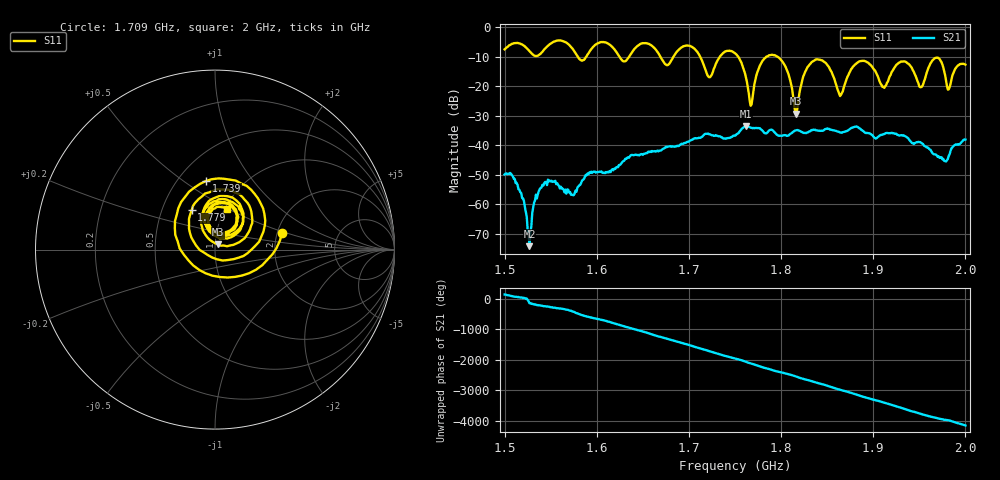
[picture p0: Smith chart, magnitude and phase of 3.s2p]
! NanoVNA-App by SYSJOINT et al v1.1.209 (+OD18)
! Date: 2026-01-21 14:24:11
! Start: 1,5GHz Stop: 2GHz Points: 501
! S-Parameter data: F S11 S21 S12 S22
# Hz S RI R 50
!  Frequency  S11_Real  S11_Imag  S21_Real  S21_Imag  S12_Real  S12_Imag  S22_Real  S22_Imag
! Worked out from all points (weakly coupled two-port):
!   501 points, 1.5 GHz to 2 GHz, reference 50 ohm
!   highest |S21| = -33.53 dB at 1.762 GHz (marker M1); lowest = -74.2 dB at 1.527 GHz (marker M2)
!   lowest |S11| = -29.3 dB at 1.816 GHz (marker M3), VSWR 1.07, Z = 51.8 + j3.02 ohm
!   |S11| at or under -10 dB: 1.712 GHz to 1.734 GHz (21.28 MHz wide, 1.24 % of centre); 1.753 GHz to 1.784 GHz (30.44 MHz wide, 1.72 % of centre); 1.796 GHz to end of sweep (the widest 3 of 6)
!   S12 and S22 are empty: the file has one direction only
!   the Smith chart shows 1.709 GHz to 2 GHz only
!   S11 on the Smith chart (normalised r, x): 1.709 GHz: 2.13, +0.46; 1.739 GHz: 0.68, +0.61; 1.779 GHz: 0.71, +0.33; 2 GHz: 1.02, +0.48
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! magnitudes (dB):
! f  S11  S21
! 1.5 GHz  -7.5  -49.9
! 1.516 GHz  -5.5  -55.1
! 1.527 GHz  -8.1  -74.2
! 1.543 GHz  -7.5  -52.8
! 1.584 GHz  -11.3  -52.0
! 1.667 GHz  -8.9  -42.1
! 1.709 GHz  -8.3  -37.6
! 1.722 GHz  -17.0  -36.3
! 1.739 GHz  -8.3  -37.7
! 1.75 GHz  -8.8  -36.8
! 1.762 GHz  -17.2  -33.5
! 1.768 GHz  -26.1  -34.1
! 1.779 GHz  -11.9  -34.8
! 1.801 GHz  -11.5  -36.8
! 1.816 GHz  -29.3  -34.9
! 1.834 GHz  -11.6  -34.9
! 1.864 GHz  -23.3  -35.7
! 1.886 GHz  -11.5  -34.4
! 1.917 GHz  -17.3  -35.9
! 1.969 GHz  -10.3  -43.5
! 1.978 GHz  -16.2  -45.4
! 2 GHz  -12.7  -38.1
